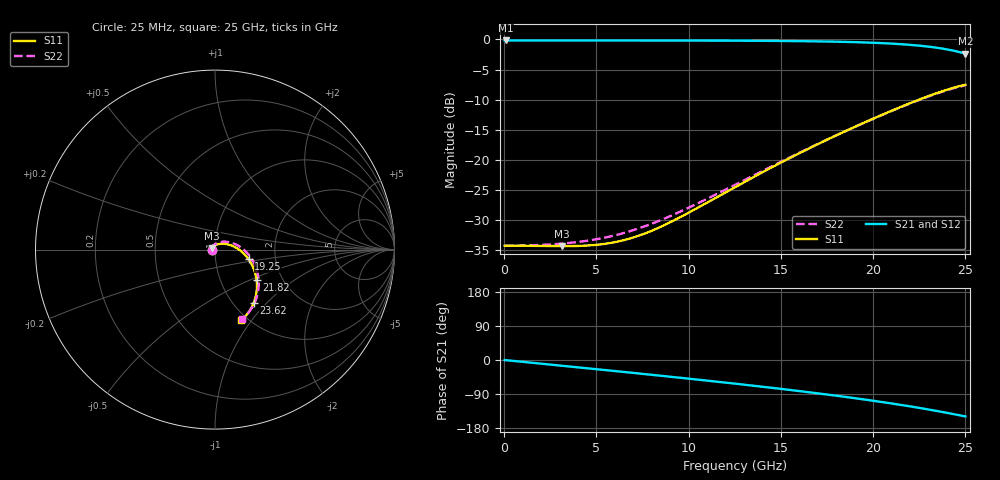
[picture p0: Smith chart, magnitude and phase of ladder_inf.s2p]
! BV_ts_refinout2: kisi's ladder as in the channel (infinite plates), 3D loss model
# Hz S RI R 50
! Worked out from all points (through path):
!   1000 points, 25 MHz to 25 GHz, reference 50 ohm
!   highest |S21| = -0.17 dB at 75 MHz (marker M1); lowest = -2.4 dB at 25 GHz (marker M2)
!   group delay of S21, straight-line fit = 15.8 ps
!   lowest |S11| = -34.4 dB at 3.125 GHz (marker M3), VSWR 1.04, Z = 48.4 + j0.949 ohm
!   |S11| at or under -10 dB: start of sweep to 22.49 GHz
!   |S22| runs from -34.3 to -7.6 dB; largest |S21 - S12| = 0
!   S11 on the Smith chart (normalised r, x): 25 MHz: 0.96, +0.00; 19.25 GHz: 1.45, -0.16; 21.82 GHz: 1.48, -0.55; 23.62 GHz: 1.23, -0.84; 25 GHz: 0.93, -0.89
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2.5e7  -0.0193 7.76e-05  0.9807 -0.00206  0.9807 -0.00206  -0.0193 7.81e-05
7.5e7  -0.0193 0.000233  0.9807 -0.00618  0.9807 -0.00618  -0.0193 0.000234
1.6e9  -0.0186 0.00498  0.9718 -0.1316  0.9718 -0.1316  -0.0188 0.00505
3.125e9  -0.0164 0.00981  0.9468 -0.2551  0.9468 -0.2551  -0.0173 0.0101
4.2e9  -0.0139 0.0133  0.9196 -0.3402  0.9196 -0.3402  -0.0156 0.014
5.325e9  -0.0104 0.017  0.8827 -0.4266  0.8827 -0.4266  -0.0128 0.0183
6.325e9  -0.0062 0.0202  0.8427 -0.5006  0.8427 -0.5006  -0.00947 0.0223
7.3e9  -0.00111 0.0233  0.7973 -0.5697  0.7973 -0.5697  -0.00517 0.0264
8.35e9  0.00566 0.0265  0.7415 -0.6401  0.7415 -0.6401  0.000816 0.0308
1.0425e10  0.0238 0.0314  0.6105 -0.7646  0.6105 -0.7646  0.0178 0.039
1.2525e10  0.0498 0.0323  0.4513 -0.8658  0.4513 -0.8658  0.0438 0.044
1.4675e10  0.0857 0.0249  0.2627 -0.9362  0.2627 -0.9362  0.0813 0.0408
1.6675e10  0.1274 0.00456  0.0674 -0.9631  0.0674 -0.9631  0.126 0.0236
1.8e10  0.1582 -0.02  -0.0699 -0.9553  -0.0699 -0.9553  0.1596 0.000336
1.925e10  0.1875 -0.0543  -0.2025 -0.9254  -0.2025 -0.9254  0.1918 -0.0337
2.0075e10  0.2055 -0.0843  -0.2899 -0.8918  -0.2899 -0.8918  0.2117 -0.0642
2.085e10  0.2199 -0.1187  -0.3703 -0.8487  -0.3703 -0.8487  0.2278 -0.0996
2.1825e10  0.2317 -0.1714  -0.4661 -0.777  -0.4661 -0.777  0.2412 -0.1543
2.2725e10  0.232 -0.2295  -0.5451 -0.6919  -0.5451 -0.6919  0.2423 -0.2149
2.3625e10  0.2162 -0.2954  -0.6083 -0.5871  -0.6083 -0.5871  0.226 -0.2836
2.435e10  0.1865 -0.3501  -0.6414 -0.489  -0.6414 -0.489  0.1947 -0.3406
2.5e10  0.1441 -0.3946  -0.6519 -0.3931  -0.6519 -0.3931  0.1499 -0.3866
